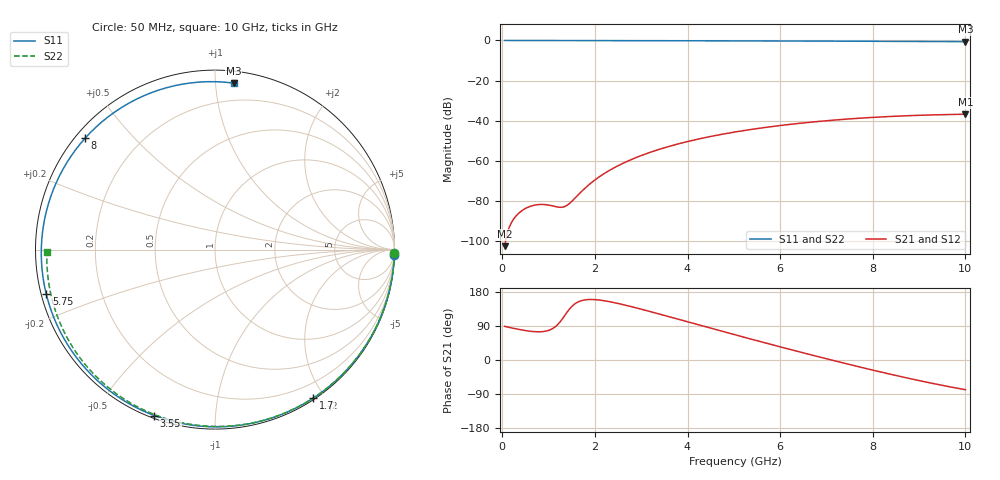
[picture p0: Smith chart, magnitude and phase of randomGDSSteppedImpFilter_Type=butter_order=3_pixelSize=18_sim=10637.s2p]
! freq	dB(S11)	phase(S11)	dB(S12)	phase(S12)
!  dB(S21)	phase(S21)	dB(S22)	phase(S22)
!S-par simulation data
#  GHz  S  DB  R 50
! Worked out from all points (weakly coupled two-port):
!   200 points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, 50 MHz to 10 GHz, reference 50 ohm
!   highest |S21| = -36.79 dB at 10 GHz (marker M1); lowest = -102.6 dB at 50 MHz (marker M2)
!   lowest |S11| = -0.6 dB at 10 GHz (marker M3), VSWR 28.91, Z = 3.89 + j55.8 ohm
!   |S11| at or under -10 dB: nowhere
!   |S22| runs from -0.6 to 0.0 dB; largest |S21 - S12| = 0
!   S11 on the Smith chart (normalised r, x): 50 MHz: 0, -66; 1.7 GHz: 0.02, -1.86; 3.55 GHz: 0.01, -0.70; 5.75 GHz: 0.01, -0.13; 8 GHz: 0.03, +0.37; 10 GHz: 0.08, +1.12
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0.05  -0.00 -1.7  -102.57 88.8  -102.57 88.8  -0.00 -1.1
0.4  -0.02 -13.7  -85.25 79.7  -85.25 79.7  -0.01 -8.4
0.75  -0.03 -25.5  -81.91 74.5  -81.91 74.5  -0.02 -15.7
1.5  -0.06 -50.1  -80.25 141.2  -80.25 141.2  -0.04 -31.2
1.7  -0.07 -56.5  -75.55 156.2  -75.55 156.2  -0.04 -35.2
1.75  -0.07 -58.0  -74.43 157.8  -74.43 157.8  -0.05 -36.3
2.05  -0.08 -67.3  -68.70 158.8  -68.70 158.8  -0.05 -42.3
2.45  -0.10 -79.3  -63.04 150.5  -63.04 150.5  -0.06 -50.2
2.9  -0.11 -92.3  -58.29 137.3  -58.29 137.3  -0.08 -58.9
3.4  -0.13 -106.1  -54.21 121.0  -54.21 121.0  -0.09 -68.4
3.55  -0.13 -110.1  -53.17 116.0  -53.17 116.0  -0.09 -71.2
4.3  -0.17 -129.6  -48.82 90.8  -48.82 90.8  -0.12 -84.8
5.05  -0.20 -148.3  -45.54 65.7  -45.54 65.7  -0.15 -98.0
5.75  -0.24 -165.2  -43.15 42.8  -43.15 42.8  -0.18 -109.8
6.25  -0.28 -177.2  -41.74 26.8  -41.74 26.8  -0.21 -118.1
6.7  -0.31 171.9  -40.66 12.6  -40.66 12.6  -0.24 -125.4
7.35  -0.36 155.9  -39.36 -7.4  -39.36 -7.4  -0.29 -135.9
8  -0.41 139.3  -38.36 -26.7  -38.36 -26.7  -0.35 -146.4
8.35  -0.45 130.1  -37.93 -36.7  -37.93 -36.7  -0.38 -152.0
9.2  -0.52 106.8  -37.18 -59.5  -37.18 -59.5  -0.47 -165.8
9.6  -0.56 95.3  -36.95 -69.3  -36.95 -69.3  -0.52 -172.5
10  -0.60 83.6  -36.79 -78.4  -36.79 -78.4  -0.57 -179.3
